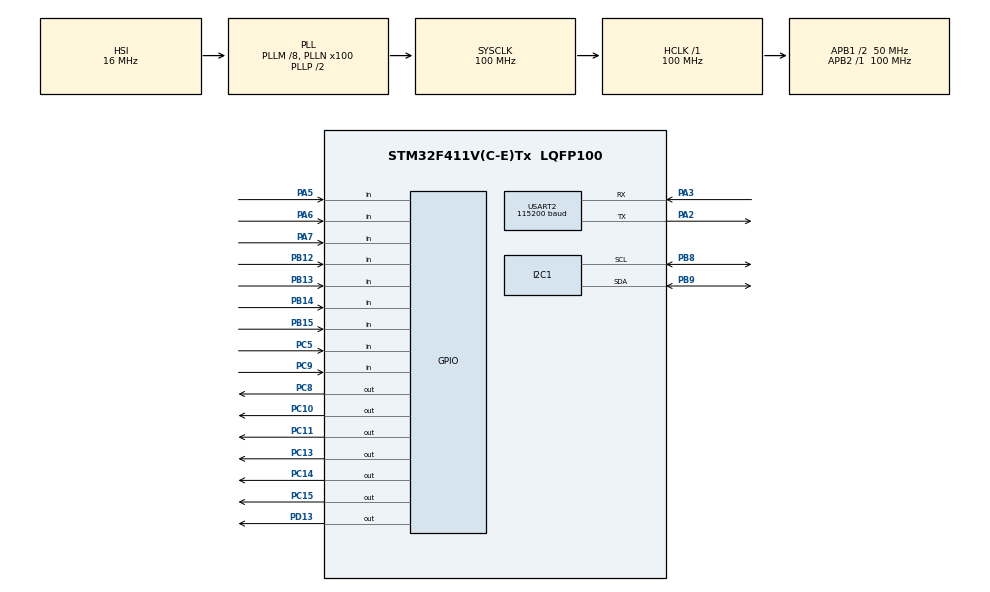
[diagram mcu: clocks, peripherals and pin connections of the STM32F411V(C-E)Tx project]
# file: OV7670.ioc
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Mcu.Family=STM32F4
Mcu.Name=STM32F411V(C-E)Tx
Mcu.Package=LQFP100
NVIC.PriorityGroup=NVIC_PRIORITYGROUP_4
NVIC.USART2_IRQn=true\:0\:0\:false\:false\:true\:true\:true\:true
PA13.Mode=Serial_Wire
PA13.Signal=SYS_JTMS-SWDIO
PA14.Mode=Serial_Wire
PA14.Signal=SYS_JTCK-SWCLK
PA2.Mode=Asynchronous
PA2.Signal=USART2_TX
PA3.Mode=Asynchronous
PA3.Signal=USART2_RX
PA5.Signal=GPIO_Input
PA6.Signal=GPIO_Input
PA7.Signal=GPIO_Input
PB12.Signal=GPIO_Input
PB13.Signal=GPIO_Input
PB14.Signal=GPIO_Input
PB15.Signal=GPIO_Input
PB8.Mode=I2C
PB8.Signal=I2C1_SCL
PB9.Mode=I2C
PB9.Signal=I2C1_SDA
PC10.Signal=GPIO_Output
PC11.Signal=GPIO_Output
PC13-ANTI_TAMP.Signal=GPIO_Output
PC14-OSC32_IN.Signal=GPIO_Output
PC15-OSC32_OUT.Signal=GPIO_Output
PC5.Signal=GPIO_Input
PC8.Signal=GPIO_Output
PC9.Signal=GPIO_Input
PD13.Signal=GPIO_Output
ProjectManager.HeapSize=0x200
ProjectManager.StackSize=0x400
ProjectManager.TargetToolchain=STM32CubeIDE
RCC.48MHZClocksFreq_Value=50000000
RCC.AHBFreq_Value=100000000
RCC.APB1CLKDivider=RCC_HCLK_DIV2
RCC.APB1Freq_Value=50000000
RCC.APB1TimFreq_Value=100000000
RCC.APB2Freq_Value=100000000
RCC.APB2TimFreq_Value=100000000
RCC.CortexFreq_Value=100000000
RCC.HCLKFreq_Value=100000000
RCC.HSE_VALUE=25000000
RCC.HSI_VALUE=16000000
RCC.LSE_VALUE=32768
RCC.PLLM=8
RCC.PLLN=100
RCC.SYSCLKFreq_VALUE=100000000
RCC.SYSCLKSource=RCC_SYSCLKSOURCE_PLLCLK
RCC.VCOOutputFreq_Value=200000000
USART2.BaudRate=115200
USART2.VirtualMode=VM_ASYNC
board=custom

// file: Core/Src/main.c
/* USER CODE BEGIN Header */
/**
  ******************************************************************************
  * @file           : main.c
  * @brief          : Main program body
  ******************************************************************************
  * @attention
  *
  * Copyright (c) 2026 STMicroelectronics.
  * All rights reserved.
  *
  * This software is licensed under terms that can be found in the LICENSE file
  * in the root directory of this software component.
  * If no LICENSE file comes with this software, it is provided AS-IS.
  *
  ******************************************************************************
  */
/* USER CODE END Header */
#include "main.h"
#include "i2c.h"
#include "usart.h"
#include "gpio.h"

/* USER CODE BEGIN Includes */
#include "string.h"
#include "ov7670.h"
/* USER CODE END Includes */

/* USER CODE BEGIN PV */
uint8_t rx_data;
//char *str = "Transmitted";
/* USER CODE END PV */

void SystemClock_Config(void);

/* USER CODE BEGIN 0 */
void HAL_UART_RxCpltCallback(UART_HandleTypeDef *huart)
{
	/* Prevent unused argument(s) compilation warning */
	UNUSED(huart);
	if (huart->Instance == USART2) {
		if (rx_data == 'r') {
			/* For testing UART purpose */
			char *str = "Received";
			HAL_UART_Transmit(&huart2, (uint8_t *) str, strlen(str), 100);
		}

		// Re-trigger Uart Receive INT
		HAL_UART_Receive_IT(&huart2, &rx_data, 1);
	}
}
/* USER CODE END 0 */

int main(void)
{

  /* MCU Configuration--------------------------------------------------------*/

  /* Reset of all peripherals, Initializes the Flash interface and the Systick. */
  HAL_Init();

  /* Configure the system clock */
  SystemClock_Config();

  /* Initialize all configured peripherals */
  MX_GPIO_Init();
  MX_USART2_UART_Init();
  MX_I2C1_Init();
  /* USER CODE BEGIN 2 */
  HAL_UART_Receive_IT(&huart2, &rx_data, 1);

  ov7670_init();
//  testImage();

  /* USER CODE END 2 */

  /* Infinite loop */
  /* USER CODE BEGIN WHILE */
  while (1)
  {
//	HAL_UART_Transmit(&huart2, (uint8_t *) str, strlen(str), 100);
//	HAL_GPIO_TogglePin(GPIOD, GPIO_PIN_13);

	/* Enable FIFO output */
	OV7670_FIFO_OE(LOW);

	while(!HAL_GPIO_ReadPin(GPIOC, GPIO_PIN_9));
	while(HAL_GPIO_ReadPin(GPIOC, GPIO_PIN_9));

	ov7670_fifo_write();

	while(!HAL_GPIO_ReadPin(GPIOC, GPIO_PIN_9));

	ov7670_fifo_read();
	ov7670_pixelDataToUart();

    /* USER CODE END WHILE */

  }
}

void SystemClock_Config(void)
{
  RCC_OscInitTypeDef RCC_OscInitStruct = {0};
  RCC_ClkInitTypeDef RCC_ClkInitStruct = {0};

  /** Configure the main internal regulator output voltage
  */
  __HAL_RCC_PWR_CLK_ENABLE();
  __HAL_PWR_VOLTAGESCALING_CONFIG(PWR_REGULATOR_VOLTAGE_SCALE1);

  /** Initializes the RCC Oscillators according to the specified parameters
  * in the RCC_OscInitTypeDef structure.
  */
  RCC_OscInitStruct.OscillatorType = RCC_OSCILLATORTYPE_HSI;
  RCC_OscInitStruct.HSIState = RCC_HSI_ON;
  RCC_OscInitStruct.HSICalibrationValue = RCC_HSICALIBRATION_DEFAULT;
  RCC_OscInitStruct.PLL.PLLState = RCC_PLL_ON;
  RCC_OscInitStruct.PLL.PLLSource = RCC_PLLSOURCE_HSI;
  RCC_OscInitStruct.PLL.PLLM = 8;
  RCC_OscInitStruct.PLL.PLLN = 100;
  RCC_OscInitStruct.PLL.PLLP = RCC_PLLP_DIV2;
  RCC_OscInitStruct.PLL.PLLQ = 4;
  if (HAL_RCC_OscConfig(&RCC_OscInitStruct) != HAL_OK)
  {
    Error_Handler();
  }

  /** Initializes the CPU, AHB and APB buses clocks
  */
  RCC_ClkInitStruct.ClockType = RCC_CLOCKTYPE_HCLK|RCC_CLOCKTYPE_SYSCLK
                              |RCC_CLOCKTYPE_PCLK1|RCC_CLOCKTYPE_PCLK2;
  RCC_ClkInitStruct.SYSCLKSource = RCC_SYSCLKSOURCE_PLLCLK;
  RCC_ClkInitStruct.AHBCLKDivider = RCC_SYSCLK_DIV1;
  RCC_ClkInitStruct.APB1CLKDivider = RCC_HCLK_DIV2;
  RCC_ClkInitStruct.APB2CLKDivider = RCC_HCLK_DIV1;

  if (HAL_RCC_ClockConfig(&RCC_ClkInitStruct, FLASH_LATENCY_3) != HAL_OK)
  {
    Error_Handler();
  }
}

void Error_Handler(void)
{
  __disable_irq();
  while (1)
  {
  }
}
